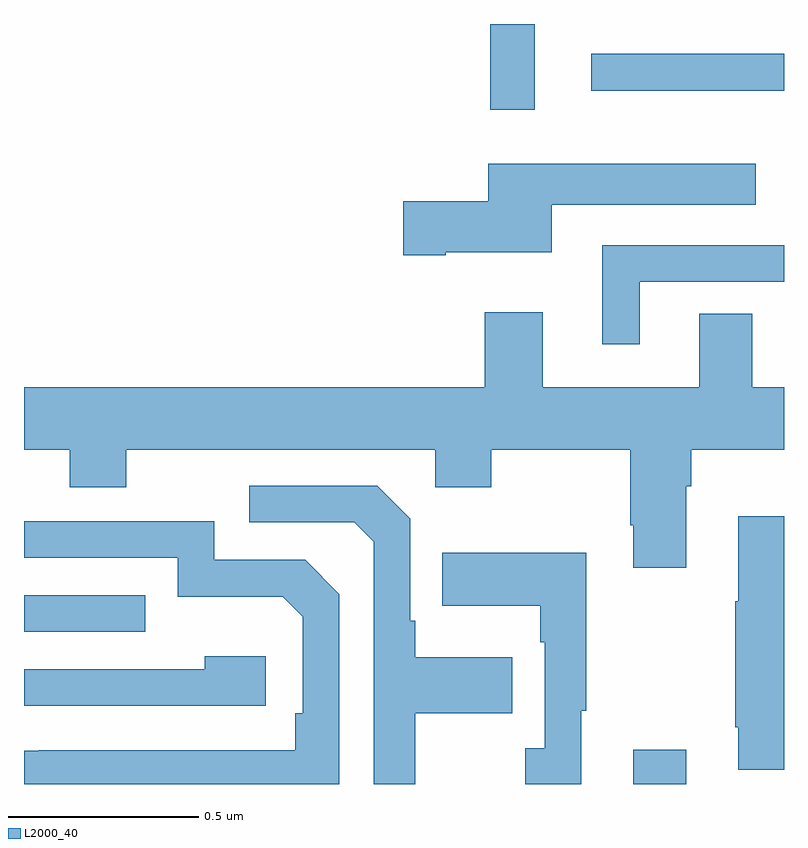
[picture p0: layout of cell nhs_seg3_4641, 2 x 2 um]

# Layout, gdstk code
import gdstk
lib = gdstk.Library(unit=1e-6, precision=1e-09)
def R(c, l, rs):  # rectangles x0, y0, x1, y1
    for r in rs: c.add(gdstk.rectangle(r[:2], r[2:], *l))
def P(c, l, *ps):  # polygons
    for p in ps: c.add(gdstk.Polygon(p, *l))
L2000_40 = (2000, 40)

nhs_seg3_4641 = lib.new_cell('nhs_seg3_4641')
R(nhs_seg3_4641, L2000_40, [(170.603,669.4,170.743,669.49), (169,669.801,169.319,669.897), (170.227,671.175,170.344,671.4), (170.493,671.225,171,671.322)])
P(nhs_seg3_4641, L2000_40, [(170.11,670.799),(170.389,670.799),(170.389,670.925),(170.926,670.925),(170.926,671.032),(170.222,671.032),(170.222,670.934),(169.998,670.934),(169.998,670.792),(170.11,670.792)],
  [(170.62,670.722),(171,670.722),(171,670.818),(170.522,670.818),(170.522,670.557),(170.62,670.557)],
  [(170.743,670.184),(170.756,670.184),(170.756,670.28),(171,670.28),(171,670.444),(170.917,670.444),(170.917,670.637),(170.777,670.637),(170.777,670.444),(170.365,670.444),(170.365,670.642),(170.213,670.642),(170.213,670.444),(169,670.444),(169,670.28),(169.121,670.28),(169.121,670.181),(169.269,670.181),(169.269,670.28),(170.082,670.28),(170.082,670.181),(170.229,670.181),(170.229,670.28),(170.596,670.28),(170.596,670.081),(170.603,670.081),(170.603,669.969),(170.743,669.969)],
  [(170.029,669.586),(170.285,669.586),(170.285,669.733),(170.029,669.733),(170.029,669.829),(170.016,669.829),(170.016,670.098),(169.929,670.185),(169.593,670.185),(169.593,670.089),(169.869,670.089),(169.92,670.038),(169.92,669.4),(170.029,669.4)],
  [(171,670.105),(170.879,670.105),(170.879,669.881),(170.872,669.881),(170.872,669.55),(170.879,669.55),(170.879,669.438),(171,669.438)],
  [(169.83,669.9),(169.74,669.99),(169.5,669.99),(169.5,670.092),(169,670.092),(169,669.996),(169.404,669.996),(169.404,669.893),(169.681,669.893),(169.734,669.84),(169.734,669.586),(169.714,669.586),(169.714,669.489),(169.039,669.489),(169.039,669.488),(169,669.488),(169,669.4),(169.83,669.4)],
  [(170.467,669.593),(170.479,669.593),(170.479,670.009),(170.101,670.009),(170.101,669.869),(170.358,669.869),(170.358,669.773),(170.37,669.773),(170.37,669.494),(170.319,669.494),(170.319,669.4),(170.467,669.4)],
  [(169.636,669.736),(169.475,669.736),(169.475,669.702),(169,669.702),(169,669.606),(169.636,669.606)])

lib.write_gds('nhs_seg3_4641.gds')
